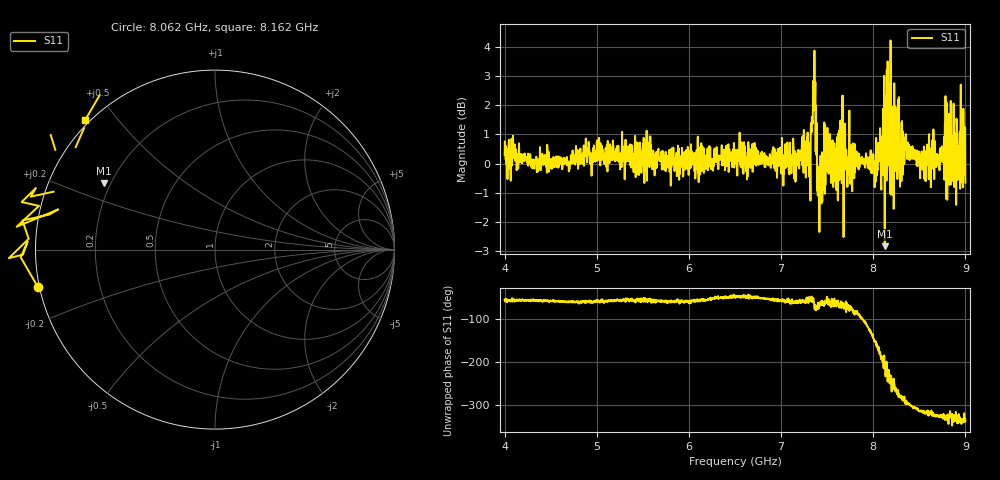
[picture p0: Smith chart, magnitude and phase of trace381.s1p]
! Created with skrf 1.8.0 (http://scikit-rf.org).
# Hz S RI R 50.0
!freq ReS11 ImS11
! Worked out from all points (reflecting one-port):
!   1601 points, 4 GHz to 9 GHz, reference 50 ohm
!   lowest |S11| = -2.8 dB at 8.125 GHz (marker M1), VSWR 6.18, Z = 8.69 + j13.5 ohm
!   phase of S11 starts at -56 deg and turns -280 deg over the sweep
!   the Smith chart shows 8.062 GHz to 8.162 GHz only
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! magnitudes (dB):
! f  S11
! 4 GHz  0.3
! 4.625 GHz  -0.2
! 5.25 GHz  0.1
! 5.875 GHz  0.4
! 6.5 GHz  0.3
! 7.125 GHz  0.0
! 7.294 GHz  -0.1
! 7.319 GHz  -1.3
! 7.347 GHz  2.8
! 7.369 GHz  2.1
! 7.4 GHz  -1.1
! 7.416 GHz  -2.3
! 7.509 GHz  0.1
! 7.591 GHz  0.5
! 7.65 GHz  0.9
! 7.703 GHz  0.2
! 7.75 GHz  0.1
! 8.025 GHz  -0.6
! 8.125 GHz  -2.8
! 8.162 GHz  0.2
! 8.216 GHz  0.3
! 8.253 GHz  0.7
! 8.312 GHz  1.5
! 8.375 GHz  0.7
! 8.556 GHz  -0.5
! 8.869 GHz  -0.2
! 8.972 GHz  0.4
! 9 GHz  -0.7
